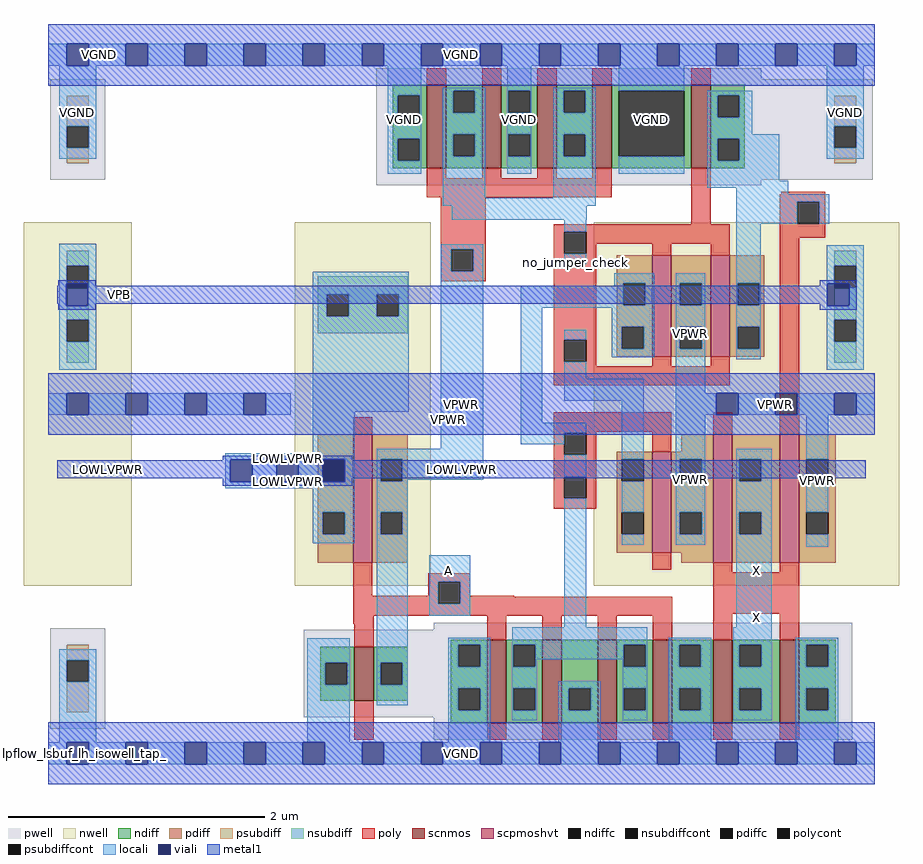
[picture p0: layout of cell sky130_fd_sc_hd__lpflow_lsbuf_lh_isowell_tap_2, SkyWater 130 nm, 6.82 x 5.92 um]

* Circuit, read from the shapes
.subckt sky130_fd_sc_hd__lpflow_lsbuf_lh_isowell_tap_2 A LOWLVPWR VGND VPB VPWR X
XM1 n1 A VGND VGND sky130_fd_pr__nfet_01v8 w=0.42 l=0.15
XM2 n2 n1 VGND VGND sky130_fd_pr__nfet_01v8 w=0.65 l=0.15 m=4
XM3 n3 A VGND VGND sky130_fd_pr__nfet_01v8 w=0.65 l=0.15 m=4
XM4 n4 n2 VGND VGND sky130_fd_pr__nfet_01v8 w=0.65 l=0.15
XM5 X n4 VGND VGND sky130_fd_pr__nfet_01v8 w=0.65 l=0.15 m=2
XM6 n1 A LOWLVPWR LOWLVPWR sky130_fd_pr__pfet_01v8_hvt w=1 l=0.15
XM7 VPWR n3 n2 VPB sky130_fd_pr__pfet_01v8_hvt w=0.79 l=0.15
XM8 VPWR n2 n3 VPB sky130_fd_pr__pfet_01v8_hvt w=0.79 l=0.15
XM9 n4 n2 VPWR VPB sky130_fd_pr__pfet_01v8_hvt w=0.79 l=0.15
XM10 X n4 VPWR VPB sky130_fd_pr__pfet_01v8_hvt w=1 l=0.15 m=2
.ends

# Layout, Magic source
magic
tech sky130A
magscale 1 2
<< nwell >>
rect -38 261 130 827
rect 384 261 596 827
rect 850 261 1326 827
<< pwell >>
rect 511 1050 1111 1067
rect 3 893 89 1050
rect 511 893 1285 1050
rect 511 885 1111 893
rect 3 38 89 195
rect 601 192 1253 203
rect 398 56 1253 192
rect 601 21 1253 56
<< scnmos >>
rect 590 911 620 1041
rect 676 911 706 1041
rect 762 911 792 1041
rect 848 911 878 1041
rect 1002 911 1032 1041
rect 477 82 507 166
rect 684 47 714 177
rect 770 47 800 177
rect 856 47 886 177
rect 942 47 972 177
rect 1036 47 1066 177
rect 1140 47 1170 177
<< scpmoshvt >>
rect 941 618 971 776
rect 1032 618 1062 776
rect 475 297 505 497
rect 941 312 971 470
rect 1036 297 1066 497
rect 1140 297 1170 497
<< ndiff >>
rect 537 1025 590 1041
rect 537 991 545 1025
rect 579 991 590 1025
rect 537 957 590 991
rect 537 923 545 957
rect 579 923 590 957
rect 537 911 590 923
rect 620 1032 676 1041
rect 620 998 631 1032
rect 665 998 676 1032
rect 620 964 676 998
rect 620 930 631 964
rect 665 930 676 964
rect 620 911 676 930
rect 706 1032 762 1041
rect 706 998 717 1032
rect 751 998 762 1032
rect 706 964 762 998
rect 706 930 717 964
rect 751 930 762 964
rect 706 911 762 930
rect 792 1032 848 1041
rect 792 998 803 1032
rect 837 998 848 1032
rect 792 964 848 998
rect 792 930 803 964
rect 837 930 848 964
rect 792 911 848 930
rect 878 1032 1002 1041
rect 878 930 889 1032
rect 991 930 1002 1032
rect 878 911 1002 930
rect 1032 1025 1085 1041
rect 1032 991 1043 1025
rect 1077 991 1085 1025
rect 1032 957 1085 991
rect 1032 923 1043 957
rect 1077 923 1085 957
rect 1032 911 1085 923
rect 627 169 684 177
rect 424 141 477 166
rect 424 107 432 141
rect 466 107 477 141
rect 424 82 477 107
rect 507 141 560 166
rect 507 107 518 141
rect 552 107 560 141
rect 507 82 560 107
rect 627 135 639 169
rect 673 135 684 169
rect 627 101 684 135
rect 627 67 639 101
rect 673 67 684 101
rect 627 47 684 67
rect 714 169 770 177
rect 714 135 725 169
rect 759 135 770 169
rect 714 101 770 135
rect 714 67 725 101
rect 759 67 770 101
rect 714 47 770 67
rect 800 101 856 177
rect 800 67 811 101
rect 845 67 856 101
rect 800 47 856 67
rect 886 169 942 177
rect 886 135 897 169
rect 931 135 942 169
rect 886 101 942 135
rect 886 67 897 101
rect 931 67 942 101
rect 886 47 942 67
rect 972 169 1036 177
rect 972 135 983 169
rect 1017 135 1036 169
rect 972 101 1036 135
rect 972 67 983 101
rect 1017 67 1036 101
rect 972 47 1036 67
rect 1066 169 1140 177
rect 1066 135 1077 169
rect 1111 135 1140 169
rect 1066 101 1140 135
rect 1066 67 1077 101
rect 1111 67 1140 101
rect 1066 47 1140 67
rect 1170 169 1227 177
rect 1170 135 1181 169
rect 1215 135 1227 169
rect 1170 101 1227 135
rect 1170 67 1181 101
rect 1215 67 1227 101
rect 1170 47 1227 67
<< pdiff >>
rect 886 732 941 776
rect 886 698 896 732
rect 930 698 941 732
rect 886 664 941 698
rect 886 630 894 664
rect 928 630 941 664
rect 886 618 941 630
rect 971 732 1032 776
rect 971 698 984 732
rect 1018 698 1032 732
rect 971 664 1032 698
rect 971 630 984 664
rect 1018 630 1032 664
rect 971 618 1032 630
rect 1062 732 1116 776
rect 1062 698 1074 732
rect 1108 698 1116 732
rect 1062 664 1116 698
rect 1062 630 1074 664
rect 1108 630 1116 664
rect 1062 618 1116 630
rect 420 458 475 497
rect 420 424 428 458
rect 462 424 475 458
rect 420 375 475 424
rect 420 341 428 375
rect 462 341 475 375
rect 420 297 475 341
rect 505 458 560 497
rect 505 424 518 458
rect 552 424 560 458
rect 505 375 560 424
rect 986 470 1036 497
rect 886 458 941 470
rect 886 424 894 458
rect 928 424 941 458
rect 505 341 518 375
rect 552 341 560 375
rect 505 297 560 341
rect 886 375 941 424
rect 886 341 894 375
rect 928 341 941 375
rect 886 312 941 341
rect 971 458 1036 470
rect 971 424 984 458
rect 1018 424 1036 458
rect 971 375 1036 424
rect 971 341 984 375
rect 1018 341 1036 375
rect 971 312 1036 341
rect 986 297 1036 312
rect 1066 458 1140 497
rect 1066 424 1077 458
rect 1111 424 1140 458
rect 1066 375 1140 424
rect 1066 341 1077 375
rect 1111 341 1140 375
rect 1066 297 1140 341
rect 1170 458 1227 497
rect 1170 424 1181 458
rect 1215 424 1227 458
rect 1170 375 1227 424
rect 1170 341 1181 375
rect 1215 341 1227 375
rect 1170 297 1227 341
<< ndiffc >>
rect 545 991 579 1025
rect 545 923 579 957
rect 631 998 665 1032
rect 631 930 665 964
rect 717 998 751 1032
rect 717 930 751 964
rect 803 998 837 1032
rect 803 930 837 964
rect 889 930 991 1032
rect 1043 991 1077 1025
rect 1043 923 1077 957
rect 432 107 466 141
rect 518 107 552 141
rect 639 135 673 169
rect 639 67 673 101
rect 725 135 759 169
rect 725 67 759 101
rect 811 67 845 101
rect 897 135 931 169
rect 897 67 931 101
rect 983 135 1017 169
rect 983 67 1017 101
rect 1077 135 1111 169
rect 1077 67 1111 101
rect 1181 135 1215 169
rect 1181 67 1215 101
<< pdiffc >>
rect 896 698 930 732
rect 894 630 928 664
rect 984 698 1018 732
rect 984 630 1018 664
rect 1074 698 1108 732
rect 1074 630 1108 664
rect 428 424 462 458
rect 428 341 462 375
rect 518 424 552 458
rect 894 424 928 458
rect 518 341 552 375
rect 894 341 928 375
rect 984 424 1018 458
rect 984 341 1018 375
rect 1077 424 1111 458
rect 1077 341 1111 375
rect 1181 424 1215 458
rect 1181 341 1215 375
<< psubdiff >>
rect 29 977 63 1024
rect 29 919 63 943
rect 1225 977 1259 1024
rect 1225 919 1259 943
rect 29 145 63 169
rect 29 64 63 111
<< nsubdiff >>
rect 29 759 63 783
rect 29 675 63 725
rect 420 715 560 743
rect 420 681 434 715
rect 468 681 512 715
rect 546 681 560 715
rect 420 654 560 681
rect 29 608 63 641
rect 1225 759 1259 783
rect 1225 675 1259 725
rect 1225 608 1259 641
<< psubdiffcont >>
rect 29 943 63 977
rect 1225 943 1259 977
rect 29 111 63 145
<< nsubdiffcont >>
rect 29 725 63 759
rect 29 641 63 675
rect 434 681 468 715
rect 512 681 546 715
rect 1225 725 1259 759
rect 1225 641 1259 675
<< poly >>
rect 590 1041 620 1067
rect 676 1041 706 1067
rect 762 1041 792 1067
rect 848 1041 878 1067
rect 1002 1041 1032 1067
rect 590 896 620 911
rect 676 896 706 911
rect 762 896 792 911
rect 848 896 878 911
rect 590 866 878 896
rect 612 785 682 866
rect 1002 824 1032 911
rect 1142 871 1211 875
rect 1140 859 1211 871
rect 1140 825 1167 859
rect 1201 825 1211 859
rect 612 751 628 785
rect 662 751 682 785
rect 612 735 682 751
rect 788 812 1062 824
rect 788 778 804 812
rect 838 794 1062 812
rect 838 778 854 794
rect 788 644 854 778
rect 941 776 971 794
rect 1032 776 1062 794
rect 1140 803 1211 825
rect 788 610 804 644
rect 838 610 854 644
rect 788 603 854 610
rect 941 603 971 618
rect 1032 603 1062 618
rect 788 573 1062 603
rect 475 497 505 523
rect 788 501 971 531
rect 788 499 854 501
rect 788 465 804 499
rect 838 465 854 499
rect 941 470 971 501
rect 1036 497 1066 531
rect 1140 497 1170 803
rect 788 431 854 465
rect 788 397 804 431
rect 838 397 854 431
rect 788 381 854 397
rect 475 245 505 297
rect 941 286 971 312
rect 1036 282 1066 297
rect 1140 282 1170 297
rect 592 267 658 280
rect 592 245 608 267
rect 475 233 608 245
rect 642 245 658 267
rect 642 244 726 245
rect 642 233 972 244
rect 475 214 972 233
rect 475 202 507 214
rect 477 166 507 202
rect 684 177 714 214
rect 770 177 800 214
rect 856 177 886 214
rect 942 177 972 214
rect 1036 217 1170 282
rect 1036 177 1066 217
rect 1140 177 1170 217
rect 477 21 507 82
rect 684 21 714 47
rect 770 21 800 47
rect 856 21 886 47
rect 942 21 972 47
rect 1036 21 1066 47
rect 1140 21 1170 47
<< polycont >>
rect 1167 825 1201 859
rect 628 751 662 785
rect 804 778 838 812
rect 804 610 838 644
rect 804 465 838 499
rect 804 397 838 431
rect 608 233 642 267
<< locali >>
rect 0 1071 29 1105
rect 63 1071 121 1105
rect 155 1071 213 1105
rect 247 1071 305 1105
rect 339 1071 397 1105
rect 431 1071 489 1105
rect 523 1071 581 1105
rect 615 1071 673 1105
rect 707 1071 765 1105
rect 799 1071 857 1105
rect 891 1071 949 1105
rect 983 1071 1041 1105
rect 1075 1071 1133 1105
rect 1167 1071 1225 1105
rect 1259 1071 1288 1105
rect 17 977 75 1071
rect 17 943 29 977
rect 63 943 75 977
rect 17 926 75 943
rect 529 1025 581 1071
rect 529 991 545 1025
rect 579 991 581 1025
rect 529 957 581 991
rect 529 923 545 957
rect 579 923 581 957
rect 529 903 581 923
rect 615 1032 681 1037
rect 615 998 631 1032
rect 665 998 681 1032
rect 615 964 681 998
rect 615 930 631 964
rect 665 930 681 964
rect 615 865 681 930
rect 715 1032 753 1071
rect 715 998 717 1032
rect 751 998 753 1032
rect 715 964 753 998
rect 715 930 717 964
rect 751 930 753 964
rect 715 903 753 930
rect 787 1032 853 1037
rect 787 998 803 1032
rect 837 998 853 1032
rect 787 964 853 998
rect 787 930 803 964
rect 837 930 853 964
rect 787 865 853 930
rect 889 1032 991 1071
rect 889 903 991 930
rect 1027 1025 1097 1032
rect 1027 991 1043 1025
rect 1077 991 1097 1025
rect 1027 964 1097 991
rect 1213 977 1271 1071
rect 1027 957 1139 964
rect 1027 923 1043 957
rect 1077 923 1139 957
rect 1213 943 1225 977
rect 1259 943 1271 977
rect 1213 926 1271 943
rect 1027 892 1139 923
rect 1027 881 1153 892
rect 615 853 853 865
rect 1072 871 1153 881
rect 1072 859 1217 871
rect 629 831 839 853
rect 804 812 838 831
rect 17 759 75 794
rect 17 731 29 759
rect 17 697 28 731
rect 63 725 75 759
rect 612 785 678 793
rect 612 751 628 785
rect 662 751 678 785
rect 804 762 838 778
rect 1072 825 1167 859
rect 1201 825 1217 859
rect 62 697 75 725
rect 17 675 75 697
rect 17 641 29 675
rect 63 641 75 675
rect 17 597 75 641
rect 412 715 562 750
rect 412 681 434 715
rect 468 681 512 715
rect 546 681 562 715
rect 0 527 29 561
rect 63 527 121 561
rect 155 527 213 561
rect 247 527 305 561
rect 339 527 378 561
rect 412 532 562 681
rect 412 467 478 532
rect 612 474 678 751
rect 882 732 944 748
rect 882 728 896 732
rect 736 698 896 728
rect 930 698 944 732
rect 736 694 944 698
rect 736 515 770 694
rect 878 664 944 694
rect 804 644 838 660
rect 878 630 894 664
rect 928 630 944 664
rect 878 617 944 630
rect 978 732 1024 748
rect 978 698 984 732
rect 1018 698 1024 732
rect 978 664 1024 698
rect 978 630 984 664
rect 1018 630 1024 664
rect 804 583 838 610
rect 804 549 928 583
rect 736 499 838 515
rect 736 481 804 499
rect 276 458 478 467
rect 276 457 428 458
rect 276 423 284 457
rect 318 423 356 457
rect 390 423 428 457
rect 462 423 478 458
rect 276 413 478 423
rect 412 375 478 413
rect 412 341 428 375
rect 462 341 478 375
rect 412 327 478 341
rect 512 458 678 474
rect 512 424 518 458
rect 552 426 678 458
rect 804 431 838 465
rect 552 424 560 426
rect 512 375 560 424
rect 512 341 518 375
rect 552 341 560 375
rect 17 145 75 162
rect 17 111 29 145
rect 63 111 75 145
rect 17 17 75 111
rect 404 141 470 179
rect 404 107 432 141
rect 466 107 470 141
rect 404 17 470 107
rect 512 141 560 341
rect 594 267 658 308
rect 594 233 608 267
rect 642 233 658 267
rect 594 214 658 233
rect 804 196 838 397
rect 894 458 928 549
rect 894 375 928 424
rect 894 325 928 341
rect 978 561 1024 630
rect 1072 732 1110 825
rect 1072 698 1074 732
rect 1108 698 1110 732
rect 1072 664 1110 698
rect 1072 630 1074 664
rect 1108 630 1110 664
rect 1072 614 1110 630
rect 1213 759 1271 791
rect 1213 731 1225 759
rect 1213 697 1214 731
rect 1259 725 1271 759
rect 1248 697 1271 725
rect 1213 675 1271 697
rect 1213 641 1225 675
rect 1259 641 1271 675
rect 1213 597 1271 641
rect 978 527 1041 561
rect 1075 527 1133 561
rect 1167 527 1225 561
rect 1259 527 1288 561
rect 978 458 1024 527
rect 978 424 984 458
rect 1018 424 1024 458
rect 978 375 1024 424
rect 978 341 984 375
rect 1018 341 1024 375
rect 978 325 1024 341
rect 1072 458 1127 474
rect 1072 424 1077 458
rect 1111 424 1127 458
rect 1072 375 1127 424
rect 1072 341 1077 375
rect 1111 341 1127 375
rect 1072 196 1127 341
rect 1181 458 1215 527
rect 1181 375 1215 424
rect 1181 322 1215 341
rect 512 107 518 141
rect 552 107 560 141
rect 512 75 560 107
rect 623 169 689 180
rect 623 135 639 169
rect 673 135 689 169
rect 623 101 689 135
rect 623 67 639 101
rect 673 67 689 101
rect 623 17 689 67
rect 723 169 933 196
rect 723 135 725 169
rect 759 146 897 169
rect 759 135 761 146
rect 723 101 761 135
rect 895 135 897 146
rect 931 135 933 169
rect 723 67 725 101
rect 759 67 761 101
rect 723 51 761 67
rect 795 101 861 112
rect 795 67 811 101
rect 845 67 861 101
rect 795 17 861 67
rect 895 101 933 135
rect 895 67 897 101
rect 931 67 933 101
rect 895 51 933 67
rect 967 169 1033 180
rect 967 135 983 169
rect 1017 135 1033 169
rect 967 101 1033 135
rect 967 67 983 101
rect 1017 67 1033 101
rect 967 17 1033 67
rect 1067 169 1127 196
rect 1067 135 1077 169
rect 1111 135 1127 169
rect 1067 101 1127 135
rect 1067 67 1077 101
rect 1111 67 1127 101
rect 1067 51 1127 67
rect 1165 169 1231 180
rect 1165 135 1181 169
rect 1215 135 1231 169
rect 1165 101 1231 135
rect 1165 67 1181 101
rect 1215 67 1231 101
rect 1165 17 1231 67
rect 0 -17 29 17
rect 63 -17 121 17
rect 155 -17 213 17
rect 247 -17 305 17
rect 339 -17 397 17
rect 431 -17 489 17
rect 523 -17 581 17
rect 615 -17 673 17
rect 707 -17 765 17
rect 799 -17 857 17
rect 891 -17 949 17
rect 983 -17 1041 17
rect 1075 -17 1133 17
rect 1167 -17 1225 17
rect 1259 -17 1288 17
<< viali >>
rect 29 1071 63 1105
rect 121 1071 155 1105
rect 213 1071 247 1105
rect 305 1071 339 1105
rect 397 1071 431 1105
rect 489 1071 523 1105
rect 581 1071 615 1105
rect 673 1071 707 1105
rect 765 1071 799 1105
rect 857 1071 891 1105
rect 949 1071 983 1105
rect 1041 1071 1075 1105
rect 1133 1071 1167 1105
rect 1225 1071 1259 1105
rect 28 725 29 731
rect 29 725 62 731
rect 28 697 62 725
rect 29 527 63 561
rect 121 527 155 561
rect 213 527 247 561
rect 305 527 339 561
rect 284 423 318 457
rect 356 423 390 457
rect 428 424 462 457
rect 428 423 462 424
rect 1214 725 1225 731
rect 1225 725 1248 731
rect 1214 697 1248 725
rect 1041 527 1075 561
rect 1133 527 1167 561
rect 1225 527 1259 561
rect 29 -17 63 17
rect 121 -17 155 17
rect 213 -17 247 17
rect 305 -17 339 17
rect 397 -17 431 17
rect 489 -17 523 17
rect 581 -17 615 17
rect 673 -17 707 17
rect 765 -17 799 17
rect 857 -17 891 17
rect 949 -17 983 17
rect 1041 -17 1075 17
rect 1133 -17 1167 17
rect 1225 -17 1259 17
<< metal1 >>
rect 0 1105 1288 1136
rect 0 1071 29 1105
rect 63 1071 121 1105
rect 155 1071 213 1105
rect 247 1071 305 1105
rect 339 1071 397 1105
rect 431 1071 489 1105
rect 523 1071 581 1105
rect 615 1071 673 1105
rect 707 1071 765 1105
rect 799 1071 857 1105
rect 891 1071 949 1105
rect 983 1071 1041 1105
rect 1075 1071 1133 1105
rect 1167 1071 1225 1105
rect 1259 1071 1288 1105
rect 0 1040 1288 1071
rect 16 731 74 737
rect 16 728 28 731
rect 14 700 28 728
rect 16 697 28 700
rect 62 728 74 731
rect 1202 731 1260 737
rect 1202 728 1214 731
rect 62 700 1214 728
rect 62 697 74 700
rect 16 691 74 697
rect 1202 697 1214 700
rect 1248 697 1260 731
rect 1202 691 1260 697
rect 0 561 1288 592
rect 0 527 29 561
rect 63 527 121 561
rect 155 527 213 561
rect 247 527 305 561
rect 339 527 1041 561
rect 1075 527 1133 561
rect 1167 527 1225 561
rect 1259 527 1288 561
rect 0 496 1288 527
rect 272 457 474 463
rect 272 456 284 457
rect 14 428 284 456
rect 272 423 284 428
rect 318 423 356 457
rect 390 423 428 457
rect 462 456 474 457
rect 462 428 1274 456
rect 462 423 474 428
rect 272 417 474 423
rect 0 17 1288 48
rect 0 -17 29 17
rect 63 -17 121 17
rect 155 -17 213 17
rect 247 -17 305 17
rect 339 -17 397 17
rect 431 -17 489 17
rect 523 -17 581 17
rect 615 -17 673 17
rect 707 -17 765 17
rect 799 -17 857 17
rect 891 -17 949 17
rect 983 -17 1041 17
rect 1075 -17 1133 17
rect 1167 -17 1225 17
rect 1259 -17 1288 17
rect 0 -48 1288 -17
<< labels >>
rlabel comment s 0 0 0 0 4 lpflow_lsbuf_lh_isowell_tap_2
flabel comment s 821 764 821 764 0 FreeSans 200 90 0 0 no_jumper_check
flabel metal1 s 66 1071 94 1105 0 FreeSans 200 0 0 0 VGND
port 3 nsew ground bidirectional abutment
flabel metal1 s 98 700 125 728 0 FreeSans 200 0 0 0 VPB
port 4 nsew power bidirectional
flabel metal1 s 82 -11 116 23 0 FreeSans 200 0 0 0 VGND
port 3 nsew ground bidirectional abutment
flabel metal1 s 87 428 99 456 0 FreeSans 200 0 0 0 LOWLVPWR
port 2 nsew power bidirectional abutment
flabel metal1 s 0 496 1248 544 0 FreeSans 200 0 0 0 VPWR
port 5 nsew power bidirectional abutment
flabel locali s 607 268 641 302 0 FreeSans 340 0 0 0 A
port 1 nsew signal input
flabel locali s 1087 268 1121 302 0 FreeSans 340 0 0 0 X
port 6 nsew signal output
flabel locali s 1087 194 1121 228 0 FreeSans 340 0 0 0 X
port 6 nsew signal output
rlabel metal1 s 272 456 474 463 1 LOWLVPWR
port 2 nsew power bidirectional abutment
rlabel metal1 s 272 417 474 428 1 LOWLVPWR
port 2 nsew power bidirectional abutment
rlabel metal1 s 14 428 1274 456 1 LOWLVPWR
port 2 nsew power bidirectional abutment
rlabel locali s 1213 926 1271 1071 1 VGND
port 3 nsew ground bidirectional abutment
rlabel locali s 889 903 991 1071 1 VGND
port 3 nsew ground bidirectional abutment
rlabel locali s 715 903 753 1071 1 VGND
port 3 nsew ground bidirectional abutment
rlabel locali s 529 903 581 1071 1 VGND
port 3 nsew ground bidirectional abutment
rlabel locali s 17 926 75 1071 1 VGND
port 3 nsew ground bidirectional abutment
rlabel locali s 0 1071 1288 1105 1 VGND
port 3 nsew ground bidirectional abutment
rlabel metal1 s 0 -48 1288 48 1 VGND
port 3 nsew ground bidirectional abutment
rlabel metal1 s 0 1040 1288 1136 1 VGND
port 3 nsew ground bidirectional abutment
rlabel locali s 1181 322 1215 527 1 VPWR
port 5 nsew power bidirectional abutment
rlabel locali s 978 561 1024 748 1 VPWR
port 5 nsew power bidirectional abutment
rlabel locali s 978 527 1288 561 1 VPWR
port 5 nsew power bidirectional abutment
rlabel locali s 978 325 1024 527 1 VPWR
port 5 nsew power bidirectional abutment
rlabel metal1 s 0 496 1288 592 1 VPWR
port 5 nsew power bidirectional abutment
<< properties >>
string FIXED_BBOX 0 0 1288 1088
string GDS_END 1607100
string GDS_FILE $PDKPATH/libs.ref/sky130_fd_sc_hd/gds/sky130_fd_sc_hd.gds
string GDS_START 1593826
string LEFclass CORE WELLTAP
string LEFsite unithddbl
string LEFsymmetry X Y R90
<< end >>
